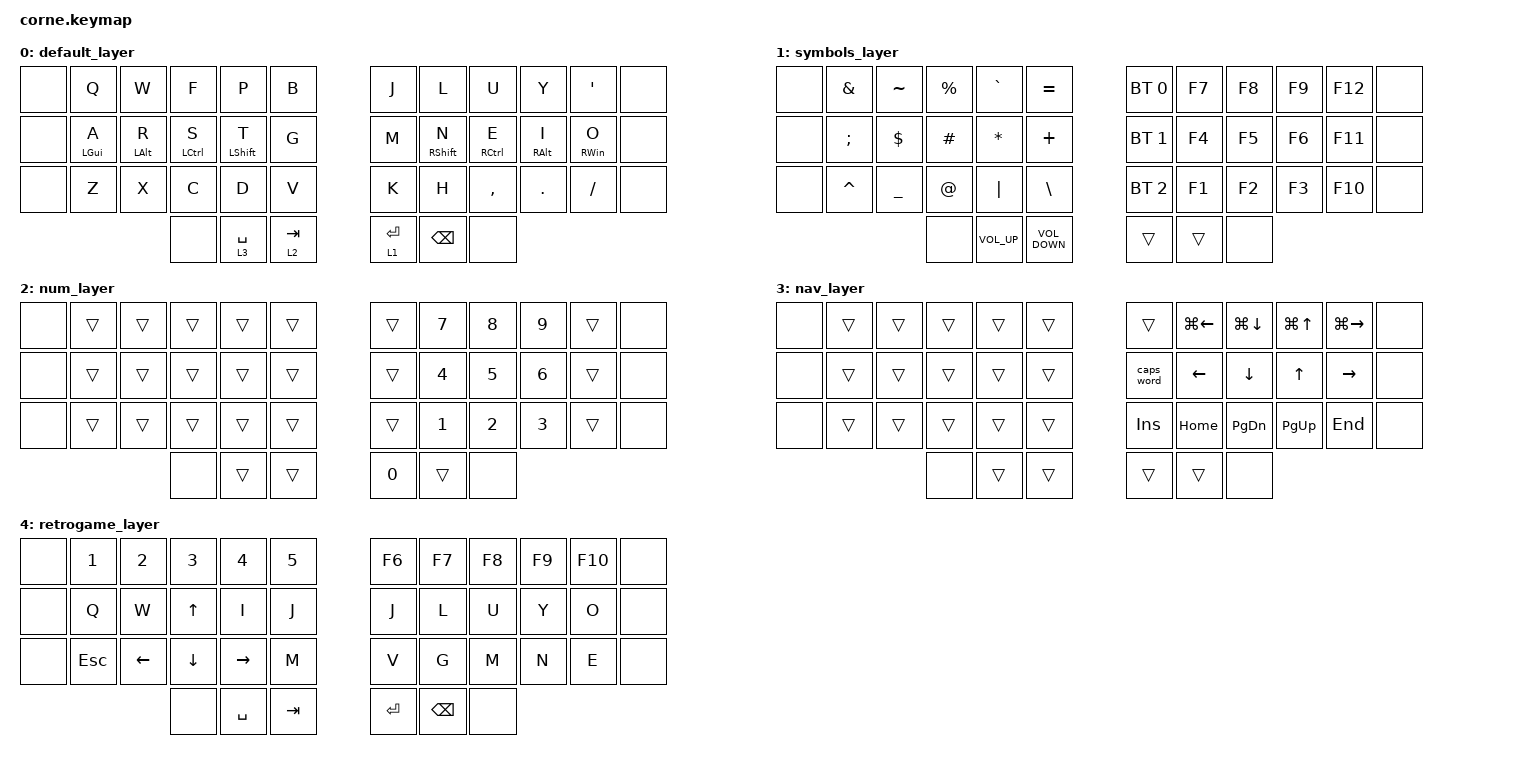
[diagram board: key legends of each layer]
/*
 * Copyright (c) 2020 The ZMK Contributors
 *
 * SPDX-License-Identifier: MIT
 */

#include <behaviors.dtsi>
#include <dt-bindings/zmk/bt.h>
#include <dt-bindings/zmk/keys.h>

&mt {
    quick-tap-ms = <175>;
    require-prior-idle-ms = <150>;
    flavor = "balanced";
};

/ {
    combos {
        compatible = "zmk,combos";

        left_brace {
            bindings = <&kp LEFT_BRACE>;
            key-positions = <2 3>;
        };

        right_brace {
            bindings = <&kp RIGHT_BRACE>;
            key-positions = <4 3>;
        };

        left_parenthesis {
            bindings = <&kp LEFT_PARENTHESIS>;
            key-positions = <14 15>;
        };

        right_parenthesis {
            bindings = <&kp RIGHT_PARENTHESIS>;
            key-positions = <16 15>;
        };

        left_bracket {
            bindings = <&kp LEFT_BRACKET>;
            key-positions = <27 26>;
        };

        right_bracket {
            bindings = <&kp RIGHT_BRACKET>;
            key-positions = <28 27>;
        };

        minus {
            bindings = <&kp MINUS>;
            key-positions = <7 8>;
        };

        equal {
            bindings = <&kp EQUAL>;
            key-positions = <8 9>;
        };

        colon {
            bindings = <&kp COLON>;
            key-positions = <19 20>;
        };

        escape {
            bindings = <&kp ESCAPE>;
            key-positions = <20 21>;
        };

        exclamation {
            bindings = <&kp EXCLAMATION>;
            key-positions = <31 32>;
        };

        delete {
            bindings = <&kp DELETE>;
            key-positions = <32 33>;
        };

        cb_retrogaming {
            bindings = <&tog 4>;
            key-positions = <4 7>;
        };
    };

    keymap {
        compatible = "zmk,keymap";

        default_layer {
            // -----------------------------------------------------------------------------------------
            // |  TAB |  Q  |  W  |  E  |  R  |  T  |   |  Y  |  U   |  I  |  O  |  P  | BKSP |
            // | CTRL |  A  |  S  |  D  |  F  |  G  |   |  H  |  J   |  K  |  L  |  ;  |  '   |
            // | SHFT |  Z  |  X  |  C  |  V  |  B  |   |  N  |  M   |  ,  |  .  |  /  | ESC  |
            //                    | GUI | LWR | SPC |   | ENT | RSE  | ALT |

            bindings = <
&none  &kp Q           &kp W           &kp F               &kp P             &kp B        &kp J        &kp L              &kp U        &kp Y            &kp SQT          &none
&none  &mt LEFT_GUI A  &mt LEFT_ALT R  &mt LEFT_CONTROL S  &mt LEFT_SHIFT T  &kp G        &kp M        &mt RIGHT_SHIFT N  &mt RCTRL E  &mt RIGHT_ALT I  &mt RIGHT_WIN O  &none
&none  &kp Z           &kp X           &kp C               &kp D             &kp V        &kp K        &kp H              &kp COMMA    &kp DOT          &kp FSLH         &none
                                       &none               &lt 3 SPACE       &lt 2 TAB    &lt 1 ENTER  &kp BACKSPACE      &none
            >;
        };

        symbols_layer {
            // -----------------------------------------------------------------------------------------
            // |  TAB |  1  |  2  |  3  |  4  |  5  |   |  6  |  7  |  8  |  9  |  0  | BKSP |
            // | BTCLR| BT1 | BT2 | BT3 | BT4 | BT5 |   | LFT | DWN |  UP | RGT |     |      |
            // | SHFT |     |     |     |     |     |   |     |     |     |     |     |      |
            //                    | GUI |     | SPC |   | ENT |     | ALT |

            bindings = <
&none  &kp AMPERSAND  &kp TILDE   &kp PERCENT  &kp GRAVE        &kp EQUAL            &bt BT_SEL 0  &kp F7  &kp F8  &kp F9  &kp F12  &none
&none  &kp SEMI       &kp DOLLAR  &kp HASH     &kp ASTERISK     &kp PLUS             &bt BT_SEL 1  &kp F4  &kp F5  &kp F6  &kp F11  &none
&none  &kp CARET      &kp UNDER   &kp AT_SIGN  &kp PIPE         &kp BACKSLASH        &bt BT_SEL 2  &kp F1  &kp F2  &kp F3  &kp F10  &none
                                  &none        &kp C_VOLUME_UP  &kp C_VOLUME_DOWN    &trans        &trans  &none
            >;
        };

        num_layer {
            // -----------------------------------------------------------------------------------------
            // |  TAB |  !  |  @  |  #  |  $  |  %  |   |  ^  |  &  |  *  |  (  |  )  | BKSP |
            // | CTRL |     |     |     |     |     |   |  -  |  =  |  [  |  ]  |  \  |  `   |
            // | SHFT |     |     |     |     |     |   |  _  |  +  |  {  |  }  | "|" |  ~   |
            //                    | GUI |     | SPC |   | ENT |     | ALT |

            bindings = <
&none  &trans  &trans  &trans  &trans  &trans    &trans  &kp NUMBER_7  &kp NUMBER_8  &kp NUMBER_9  &trans  &none
&none  &trans  &trans  &trans  &trans  &trans    &trans  &kp NUMBER_4  &kp NUMBER_5  &kp NUMBER_6  &trans  &none
&none  &trans  &trans  &trans  &trans  &trans    &trans  &kp NUMBER_1  &kp NUMBER_2  &kp NUMBER_3  &trans  &none
                       &none   &trans  &trans    &kp N0  &trans        &none
            >;
        };

        nav_layer {
            bindings = <
&none  &trans  &trans  &trans  &trans  &trans    &trans      &kp LG(LEFT)    &kp LG(DOWN_ARROW)  &kp LG(UP_ARROW)  &kp LG(RIGHT)  &none
&none  &trans  &trans  &trans  &trans  &trans    &caps_word  &kp LEFT_ARROW  &kp DOWN_ARROW      &kp UP_ARROW      &kp RIGHT      &none
&none  &trans  &trans  &trans  &trans  &trans    &kp INSERT  &kp HOME        &kp PAGE_DOWN       &kp PAGE_UP       &kp END        &none
                       &none   &trans  &trans    &trans      &trans          &none
            >;
        };

        retrogame_layer {
            bindings = <
&none  &kp NUMBER_1  &kp NUMBER_2  &kp NUMBER_3  &kp NUMBER_4  &kp N5     &kp F6   &kp F7    &kp F8  &kp F9  &kp F10  &none
&none  &kp Q         &kp W         &kp UP_ARROW  &kp I         &kp J      &kp J    &kp L     &kp U   &kp Y   &kp O    &none
&none  &kp ESC       &kp LEFT      &kp DOWN      &kp RIGHT     &kp M      &kp V    &kp G     &kp M   &kp N   &kp E    &none
                                   &none         &kp SPACE     &kp TAB    &kp RET  &kp BSPC  &none
            >;
        };
    };
};
